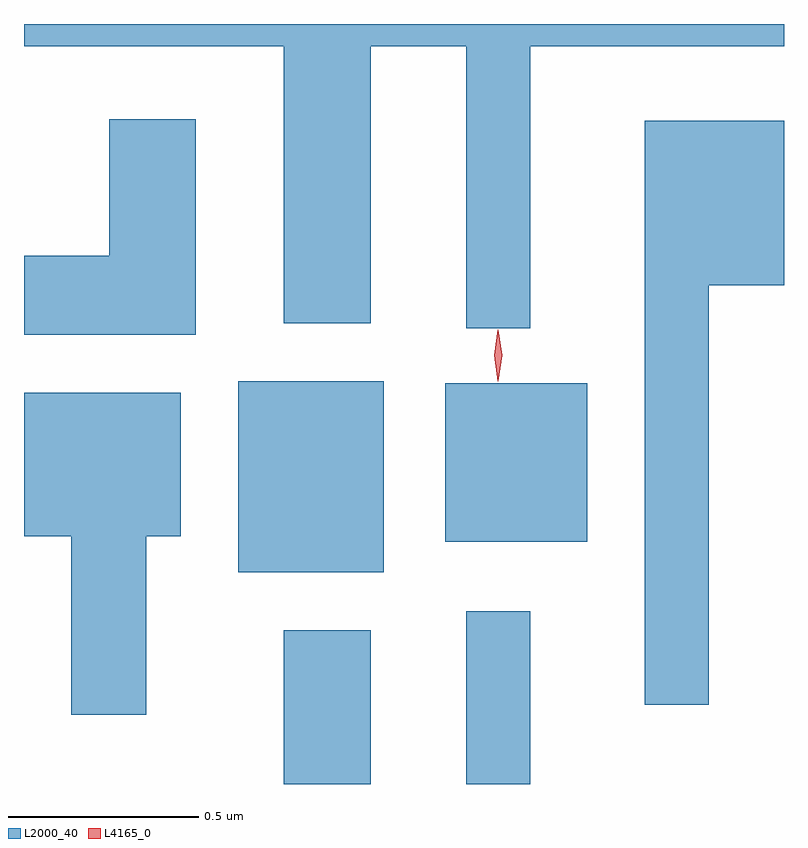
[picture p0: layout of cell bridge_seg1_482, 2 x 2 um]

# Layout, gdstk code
import gdstk
lib = gdstk.Library(unit=1e-6, precision=1e-09)
def R(c, l, rs):  # rectangles x0, y0, x1, y1
    for r in rs: c.add(gdstk.rectangle(r[:2], r[2:], *l))
def P(c, l, *ps):  # polygons
    for p in ps: c.add(gdstk.Polygon(p, *l))
L2000_40 = (2000, 40)
L4165_0 = (4165, 0)

bridge_seg1_482 = lib.new_cell('bridge_seg1_482')
R(bridge_seg1_482, L2000_40, [(204.141,877.654,204.369,878.059), (204.621,877.654,204.789,878.108), (204.021,878.211,204.404,878.714), (204.566,878.291,204.939,878.709)])
P(bridge_seg1_482, L2000_40, [(204.789,879.596),(205.457,879.596),(205.457,879.654),(203.457,879.654),(203.457,879.596),(204.141,879.596),(204.141,878.866),(204.369,878.866),(204.369,879.596),(204.621,879.596),(204.621,878.853),(204.789,878.853)],
  [(203.909,879.404),(203.681,879.404),(203.681,879.044),(203.457,879.044),(203.457,878.836),(203.909,878.836)],
  [(205.259,878.966),(205.457,878.966),(205.457,879.399),(205.091,879.399),(205.091,877.863),(205.259,877.863)],
  [(203.779,878.306),(203.869,878.306),(203.869,878.684),(203.457,878.684),(203.457,878.306),(203.581,878.306),(203.581,877.836),(203.779,877.836)])
P(bridge_seg1_482, L4165_0, [(204.704,878.718),(204.704,878.718),(204.694,878.782),(204.704,878.846),(204.704,878.847),(204.705,878.846),(204.714,878.782),(204.705,878.718)],
  [(204.704,878.714),(204.695,878.782),(204.704,878.85),(204.705,878.85),(204.705,878.85),(204.715,878.782),(204.705,878.714),(204.705,878.714)])

lib.write_gds('bridge_seg1_482.gds')
